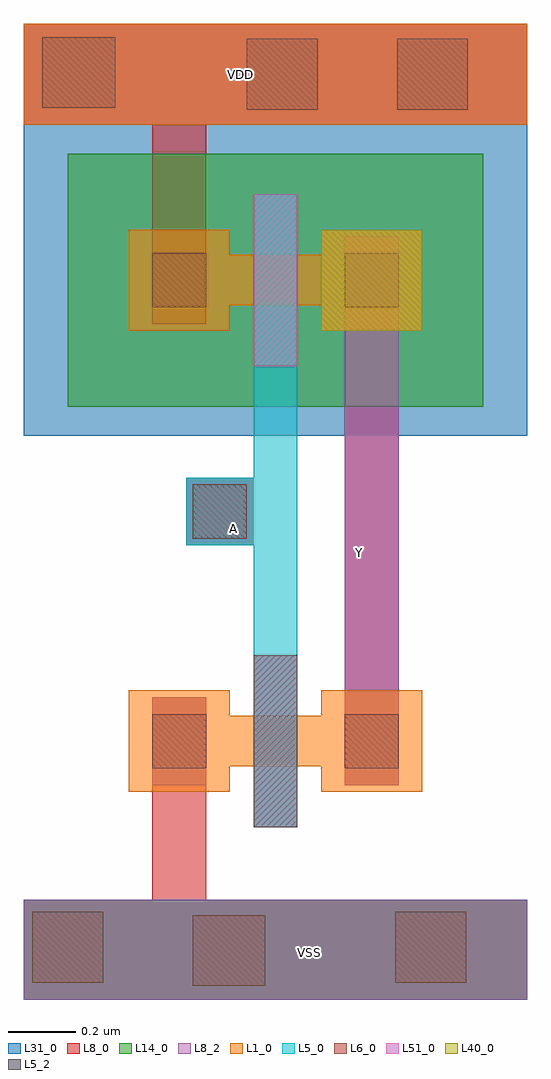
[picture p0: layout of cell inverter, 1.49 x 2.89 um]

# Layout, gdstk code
import gdstk
lib = gdstk.Library(unit=1e-6, precision=5e-09)
def R(c, l, rs):  # rectangles x0, y0, x1, y1
    for r in rs: c.add(gdstk.rectangle(r[:2], r[2:], *l))
L1_0 = (1, 0)
L5_0 = (5, 0)
L5_2 = (5, 2)
L6_0 = (6, 0)
L8_0 = (8, 0)
L8_2 = (8, 2)
L14_0 = (14, 0)
L31_0 = (31, 0)
L40_0 = (40, 0)
L51_0 = (51, 0)

pmos = lib.new_cell('pmos')
R(pmos, L1_0, [(0,0,0.3,0.3), (0.57,0,0.87,0.3), (0,0.075,0.87,0.225)])
R(pmos, L5_0, [(0.37,-0.105,0.5,0.405), (0.37,-0.105,0.5,0.405)])
R(pmos, L6_0, [(0.07,0.07,0.23,0.23), (0.64,0.07,0.8,0.23)])
R(pmos, L8_0, [(0.07,0.02,0.23,0.28), (0.07,0.02,0.23,0.28), (0.64,0.02,0.8,0.28), (0.64,0.02,0.8,0.28)])
R(pmos, L14_0, [(-0.18,-0.225,1.05,0.525)])
R(pmos, L31_0, [(-0.31,-0.31,1.18,0.61)])
R(pmos, L40_0, [(0.57,0,0.87,0.3)])
R(pmos, L51_0, [(0.37,-0.105,0.5,0.405)])
pmos.add(gdstk.Label('pmos', (0.435,0.15), layer=63, texttype=0))
pmos.add(gdstk.Label('pmos', (0.435,0.15), layer=51, texttype=0))

nmos = lib.new_cell('nmos')
R(nmos, L1_0, [(0,0,0.3,0.3), (0.57,0,0.87,0.3), (0,0.075,0.87,0.225)])
R(nmos, L5_0, [(0.37,-0.105,0.5,0.405)])
R(nmos, L5_2, [(0.37,-0.105,0.5,0.405)])
R(nmos, L6_0, [(0.07,0.07,0.23,0.23), (0.64,0.07,0.8,0.23)])
R(nmos, L8_0, [(0.07,0.02,0.23,0.28), (0.64,0.02,0.8,0.28)])
R(nmos, L8_2, [(0.07,0.02,0.23,0.28), (0.64,0.02,0.8,0.28)])
R(nmos, L51_0, [(0.37,-0.105,0.5,0.405)])
nmos.add(gdstk.Label('nmos', (0.435,0.15), layer=63, texttype=0))
nmos.add(gdstk.Label('nmos', (0.435,0.15), layer=51, texttype=0))

inverter = lib.new_cell('inverter')
R(inverter, L1_0, [(-16.805,22.395,-15.315,22.695)])
R(inverter, L5_0, [(-16.125,20.315,-15.995,22.19), (-16.325,21.15,-16.125,21.35)])
R(inverter, L6_0, [(-16.305,19.845,-16.09,20.055), (-16.78,19.855,-16.57,20.065), (-15.705,19.855,-15.495,20.065), (-16.305,21.17,-16.145,21.33), (-16.145,22.44,-15.935,22.65), (-15.7,22.44,-15.49,22.65), (-16.75,22.445,-16.535,22.655)])
R(inverter, L8_0, [(-16.805,19.805,-15.315,20.1), (-16.425,20.015,-16.265,20.7), (-15.855,20.44,-15.695,22.065), (-16.325,21.15,-16.125,21.35), (-16.425,21.805,-16.265,22.495), (-16.805,22.395,-15.315,22.695)])
R(inverter, L8_2, [(-16.805,19.805,-15.315,20.1), (-15.855,20.44,-15.695,22.065), (-16.325,21.15,-16.125,21.35), (-16.805,22.395,-15.315,22.695)])
R(inverter, L14_0, [(-16.805,19.805,-15.315,20.1)])
R(inverter, L31_0, [(-16.805,22.395,-15.315,22.695)])
inverter.add(gdstk.Reference(pmos, (-16.495,21.785)))
inverter.add(gdstk.Reference(nmos, (-16.495,20.42)))
inverter.add(gdstk.Label('Y', (-15.81,21.13), layer=8, texttype=25))
inverter.add(gdstk.Label('A', (-16.185,21.2), layer=8, texttype=25))
inverter.add(gdstk.Label('VDD', (-16.165,22.545), layer=8, texttype=25))
inverter.add(gdstk.Label('VSS', (-15.96,19.945), layer=8, texttype=25))

lib.write_gds('inverter.gds')
